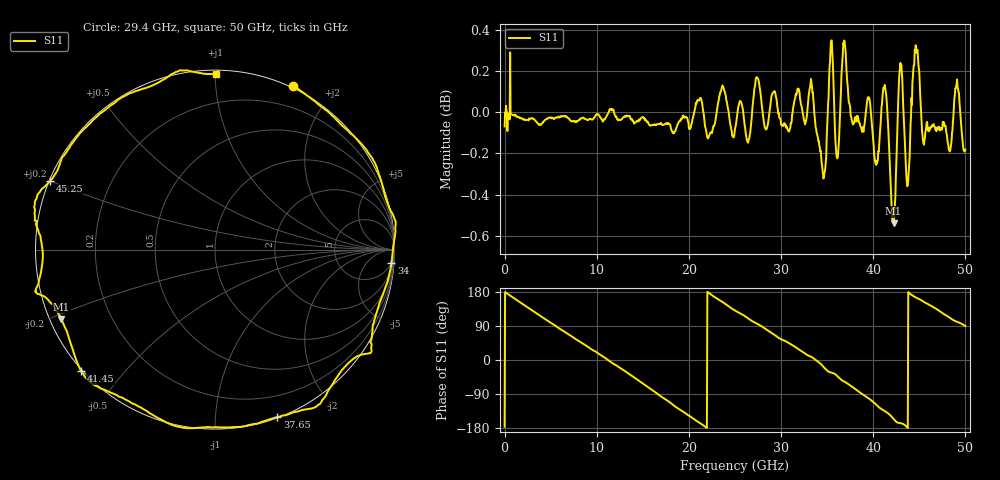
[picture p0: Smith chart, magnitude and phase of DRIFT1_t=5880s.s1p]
!Created with skrf (http://scikit-rf.org).
# Hz S RI R 50.0
!freq ReS11 ImS11
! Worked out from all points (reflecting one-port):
!   1001 points, 300 kHz to 50 GHz, reference 50 ohm
!   lowest |S11| = -0.5 dB at 42.2 GHz (marker M1), VSWR 32.24, Z = 1.62 - j10.7 ohm
!   phase of S11 starts at -176 deg and turns -814 deg over the sweep
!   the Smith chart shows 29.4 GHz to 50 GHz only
!   S11 on the Smith chart (normalised r, x): 29.4 GHz: -0.02, +1.59; 34 GHz: 5, -25; 37.65 GHz: 0.01, -1.44; 41.45 GHz: -0.00, -0.39; 45.25 GHz: 0.00, +0.20; 50 GHz: 0.02, +1.01
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300000  -0.9899 -0.066
1.550291e9  -0.8991 0.4311
3.30028e9  -0.5813 0.8081
4.800271e9  -0.2003 0.9767
6.250262e9  0.2003 0.9775
9.500243e9  0.8891 0.4487
1.115023e10  0.9986 0.0211
1.250022e10  0.9335 -0.3467
1.580021e10  0.244 -0.962
1.73502e10  -0.2069 -0.9714
1.875019e10  -0.5932 -0.7961
2.155017e10  -0.9908 -0.1376
2.345016e10  -0.9257 0.4075
2.500015e10  -0.6426 0.7541
2.735014e10  -0.111 1.014
2.940012e10  0.4359 0.9111
3.125011e10  0.7793 0.626
3.40001e10  0.9827 -0.0766
3.520009e10  0.8721 -0.524
3.750008e10  0.3897 -0.9238
3.765007e10  0.3479 -0.9331
3.950006e10  -0.1941 -0.9884
4.145005e10  -0.7464 -0.6763
4.220005e10  -0.857 -0.3857
4.375004e10  -0.9602 -0.00831
4.525003e10  -0.9175 0.3838
4.775001e10  -0.4967 0.859
5e10  0.00769 0.9792
